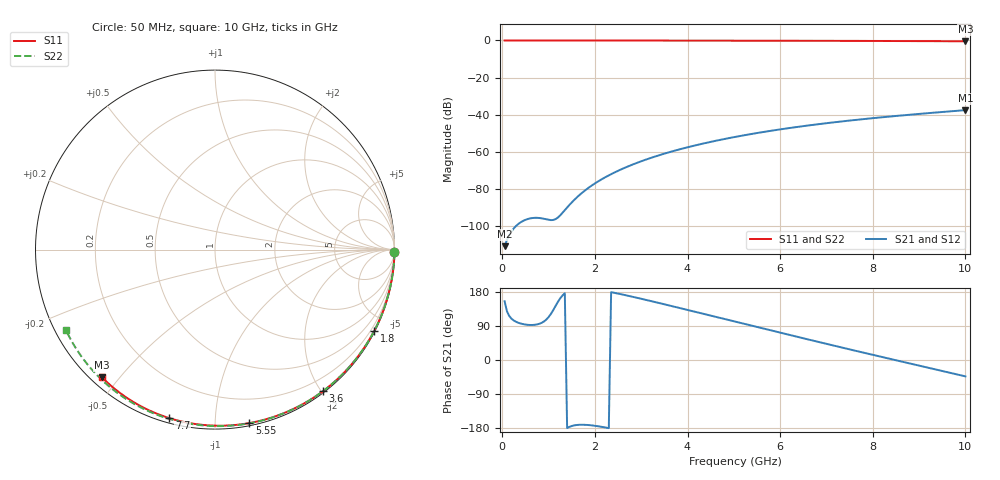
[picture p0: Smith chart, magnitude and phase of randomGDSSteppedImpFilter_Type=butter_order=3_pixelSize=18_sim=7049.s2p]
! freq	dB(S11)	phase(S11)	dB(S12)	phase(S12)
!  dB(S21)	phase(S21)	dB(S22)	phase(S22)
!S-par simulation data
#  GHz  S  DB  R 50
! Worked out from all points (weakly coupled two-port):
!   200 points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, 50 MHz to 10 GHz, reference 50 ohm
!   highest |S21| = -37.57 dB at 10 GHz (marker M1); lowest = -110.9 dB at 50 MHz (marker M2)
!   lowest |S11| = -0.4 dB at 10 GHz (marker M3), VSWR 39.07, Z = 1.54 - j22.5 ohm
!   |S11| at or under -10 dB: nowhere
!   |S22| runs from -0.5 to 0.0 dB; largest |S21 - S12| = 0
!   S11 on the Smith chart (normalised r, x): 50 MHz: open; 1.8 GHz: 0.04, -4.17; 3.6 GHz: 0.02, -2.02; 5.55 GHz: 0.02, -1.22; 7.7 GHz: 0.02, -0.76; 10 GHz: 0.03, -0.45
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0.05  -0.00 -0.8  -110.92 154.9  -110.92 154.9  -0.00 -0.9
0.45  -0.01 -6.8  -97.29 94.7  -97.29 94.7  -0.01 -7.9
0.85  -0.02 -12.9  -95.91 98.1  -95.91 98.1  -0.02 -14.9
1.3  -0.02 -19.6  -92.96 170.3  -92.96 170.3  -0.03 -22.6
1.75  -0.03 -26.2  -81.59 -170.9  -81.59 -170.9  -0.04 -30.3
1.8  -0.03 -27.0  -80.61 -171.1  -80.61 -171.1  -0.04 -31.1
1.85  -0.04 -27.7  -79.67 -171.5  -79.67 -171.5  -0.04 -31.9
2  -0.04 -29.9  -77.09 -173.6  -77.09 -173.6  -0.04 -34.5
2.2  -0.04 -32.8  -74.09 -177.5  -74.09 -177.5  -0.05 -37.8
2.55  -0.05 -37.9  -69.70 174.0  -69.70 174.0  -0.06 -43.6
2.95  -0.06 -43.6  -65.60 163.0  -65.60 163.0  -0.06 -50.2
3.4  -0.07 -49.9  -61.78 150.0  -61.78 150.0  -0.08 -57.4
3.6  -0.07 -52.7  -60.29 144.1  -60.29 144.1  -0.08 -60.6
4.3  -0.09 -62.3  -55.80 123.2  -55.80 123.2  -0.10 -71.5
5.05  -0.11 -72.3  -51.91 100.6  -51.91 100.6  -0.13 -82.9
5.55  -0.13 -78.8  -49.71 85.6  -49.71 85.6  -0.15 -90.2
6.1  -0.15 -85.7  -47.58 69.2  -47.58 69.2  -0.17 -98.1
6.7  -0.18 -93.1  -45.54 51.4  -45.54 51.4  -0.21 -106.6
7.7  -0.24 -105.2  -42.66 22.2  -42.66 22.2  -0.28 -120.4
8.35  -0.29 -112.7  -41.06 3.6  -41.06 3.6  -0.33 -129.2
9.2  -0.36 -122.5  -39.18 -20.4  -39.18 -20.4  -0.41 -140.7
10  -0.44 -131.5  -37.57 -43.2  -37.57 -43.2  -0.50 -151.7
